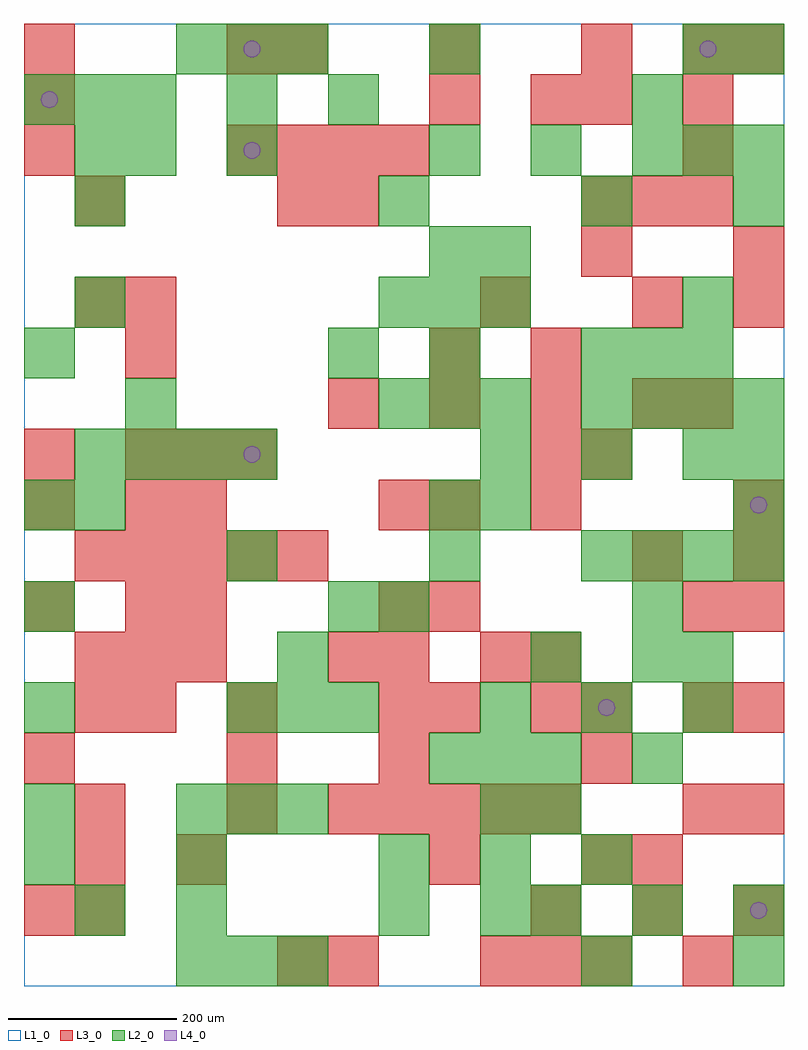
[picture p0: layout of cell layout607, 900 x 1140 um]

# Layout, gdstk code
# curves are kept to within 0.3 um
import gdstk
lib = gdstk.Library(unit=1e-6, precision=1e-09)
def R(c, l, rs):  # rectangles x0, y0, x1, y1
    for r in rs: c.add(gdstk.rectangle(r[:2], r[2:], *l))
def A(c, l, x, y, w, h, nx, ny, dx, dy):  # array of equal rectangles
    R(c, l, [(x+i*dx, y+j*dy, x+i*dx+w, y+j*dy+h) for i in range(nx) for j in range(ny)])
def P(c, l, *ps):  # polygons
    for p in ps: c.add(gdstk.Polygon(p, *l))
L1_0 = (1, 0)
L2_0 = (2, 0)
L3_0 = (3, 0)
L4_0 = (4, 0)

layout607 = lib.new_cell('layout607')
R(layout607, L1_0, [(0,0,900,1140)])
A(layout607, L2_0, 180, 0, 60, 60, 3, 2, 60, 180)
A(layout607, L2_0, 600, 60, 60, 60, 3, 1, 120, 0)
A(layout607, L2_0, 420, 120, 60, 60, 3, 1, 120, 0)
A(layout607, L2_0, 0, 180, 60, 60, 1, 4, 0, 120)
A(layout607, L2_0, 480, 240, 60, 60, 3, 1, 60, 0)
A(layout607, L2_0, 240, 300, 60, 60, 3, 1, 60, 0)
A(layout607, L2_0, 540, 300, 60, 60, 3, 2, 120, 300)
A(layout607, L2_0, 360, 420, 60, 60, 1, 3, 0, 300)
A(layout607, L2_0, 660, 480, 60, 60, 4, 2, 60, 180)
A(layout607, L2_0, 60, 600, 60, 60, 4, 1, 60, 0)
A(layout607, L2_0, 420, 660, 60, 60, 3, 2, 60, 120)
A(layout607, L2_0, 660, 720, 60, 60, 3, 1, 60, 0)
A(layout607, L2_0, 480, 960, 60, 60, 3, 1, 120, 0)
A(layout607, L2_0, 0, 1020, 60, 60, 3, 1, 60, 0)
A(layout607, L2_0, 180, 1080, 60, 60, 3, 1, 60, 0)
R(layout607, L2_0, [(660,0,720,60), (840,0,900,60), (60,60,120,120), (180,60,240,120), (420,60,480,120), (540,60,600,120), (0,120,60,180), (180,120,240,180), (540,180,600,240), (600,180,660,240), (720,240,780,300), (300,360,360,420), (600,360,660,420), (720,360,780,420), (780,360,840,420), (420,420,480,480), (720,420,780,480), (240,480,300,540), (480,480,540,540), (60,540,120,600), (480,540,540,600), (540,540,600,600), (840,540,900,600), (840,600,900,660), (120,660,180,720), (0,720,60,780), (480,720,540,780), (60,780,120,840), (780,780,840,840), (480,840,540,900), (540,840,600,900), (60,900,120,960), (420,900,480,960), (660,900,720,960), (840,900,900,960), (60,960,120,1020), (120,960,180,1020), (240,960,300,1020), (780,960,840,1020), (840,960,900,1020), (240,1020,300,1080), (720,1020,780,1080), (480,1080,540,1140), (780,1080,840,1140), (840,1080,900,1140)])
A(layout607, L3_0, 540, 0, 60, 60, 3, 1, 60, 0)
A(layout607, L3_0, 0, 60, 60, 60, 1, 3, 0, 180)
A(layout607, L3_0, 60, 60, 60, 60, 1, 3, 0, 60)
A(layout607, L3_0, 600, 60, 60, 60, 3, 1, 120, 0)
A(layout607, L3_0, 240, 180, 60, 60, 1, 3, 0, 60)
A(layout607, L3_0, 360, 180, 60, 60, 5, 1, 60, 0)
A(layout607, L3_0, 780, 180, 60, 60, 1, 3, 0, 120)
A(layout607, L3_0, 840, 180, 60, 60, 1, 3, 0, 120)
A(layout607, L3_0, 420, 240, 60, 60, 1, 4, 0, 60)
A(layout607, L3_0, 120, 300, 60, 60, 1, 3, 0, 120)
A(layout607, L3_0, 480, 300, 60, 60, 1, 3, 0, 120)
A(layout607, L3_0, 60, 360, 60, 60, 3, 1, 60, 0)
A(layout607, L3_0, 60, 480, 60, 60, 5, 1, 60, 0)
A(layout607, L3_0, 120, 600, 60, 60, 3, 1, 60, 0)
A(layout607, L3_0, 360, 660, 60, 60, 4, 1, 120, 0)
A(layout607, L3_0, 660, 900, 60, 60, 3, 1, 60, 0)
A(layout607, L3_0, 0, 960, 60, 60, 1, 3, 0, 60)
A(layout607, L3_0, 240, 960, 60, 60, 4, 1, 60, 0)
A(layout607, L3_0, 780, 960, 60, 60, 1, 3, 0, 60)
A(layout607, L3_0, 300, 1080, 60, 60, 3, 1, 180, 0)
R(layout607, L3_0, [(300,0,360,60), (360,0,420,60), (780,0,840,60), (180,120,240,180), (480,120,540,180), (660,120,720,180), (720,120,780,180), (660,240,720,300), (60,300,120,360), (600,300,660,360), (660,300,720,360), (360,360,420,420), (540,360,600,420), (600,360,660,420), (180,420,240,480), (720,480,780,540), (840,480,900,540), (0,540,60,600), (180,540,240,600), (420,540,480,600), (600,540,660,600), (840,540,900,600), (0,600,60,660), (600,600,660,660), (660,600,720,660), (780,660,840,720), (120,720,180,780), (480,720,540,780), (600,720,660,780), (60,780,120,840), (120,780,180,840), (540,780,600,840), (720,780,780,840), (840,780,900,840), (660,840,720,900), (840,840,900,900), (60,900,120,960), (300,900,360,960), (360,900,420,960), (480,1020,540,1080), (600,1020,660,1080), (660,1020,720,1080), (240,1080,300,1140), (840,1080,900,1140)])
P(layout607, L4_0, [(40,1050),(39.239,1053.827),(37.071,1057.071),(33.827,1059.239),(30,1060),(26.173,1059.239),(22.929,1057.071),(20.761,1053.827),(20,1050),(20.761,1046.173),(22.929,1042.929),(26.173,1040.761),(30,1040),(33.827,1040.761),(37.071,1042.929),(39.239,1046.173)],
  [(280,630),(279.239,633.827),(277.071,637.071),(273.827,639.239),(270,640),(266.173,639.239),(262.929,637.071),(260.761,633.827),(260,630),(260.761,626.173),(262.929,622.929),(266.173,620.761),(270,620),(273.827,620.761),(277.071,622.929),(279.239,626.173)],
  [(280,990),(279.239,993.827),(277.071,997.071),(273.827,999.239),(270,1000),(266.173,999.239),(262.929,997.071),(260.761,993.827),(260,990),(260.761,986.173),(262.929,982.929),(266.173,980.761),(270,980),(273.827,980.761),(277.071,982.929),(279.239,986.173)],
  [(280,1110),(279.239,1113.827),(277.071,1117.071),(273.827,1119.239),(270,1120),(266.173,1119.239),(262.929,1117.071),(260.761,1113.827),(260,1110),(260.761,1106.173),(262.929,1102.929),(266.173,1100.761),(270,1100),(273.827,1100.761),(277.071,1102.929),(279.239,1106.173)],
  [(700,330),(699.239,333.827),(697.071,337.071),(693.827,339.239),(690,340),(686.173,339.239),(682.929,337.071),(680.761,333.827),(680,330),(680.761,326.173),(682.929,322.929),(686.173,320.761),(690,320),(693.827,320.761),(697.071,322.929),(699.239,326.173)],
  [(820,1110),(819.239,1113.827),(817.071,1117.071),(813.827,1119.239),(810,1120),(806.173,1119.239),(802.929,1117.071),(800.761,1113.827),(800,1110),(800.761,1106.173),(802.929,1102.929),(806.173,1100.761),(810,1100),(813.827,1100.761),(817.071,1102.929),(819.239,1106.173)],
  [(880,90),(879.239,93.827),(877.071,97.071),(873.827,99.239),(870,100),(866.173,99.239),(862.929,97.071),(860.761,93.827),(860,90),(860.761,86.173),(862.929,82.929),(866.173,80.761),(870,80),(873.827,80.761),(877.071,82.929),(879.239,86.173)],
  [(880,570),(879.239,573.827),(877.071,577.071),(873.827,579.239),(870,580),(866.173,579.239),(862.929,577.071),(860.761,573.827),(860,570),(860.761,566.173),(862.929,562.929),(866.173,560.761),(870,560),(873.827,560.761),(877.071,562.929),(879.239,566.173)])

lib.write_gds('layout607.gds')
